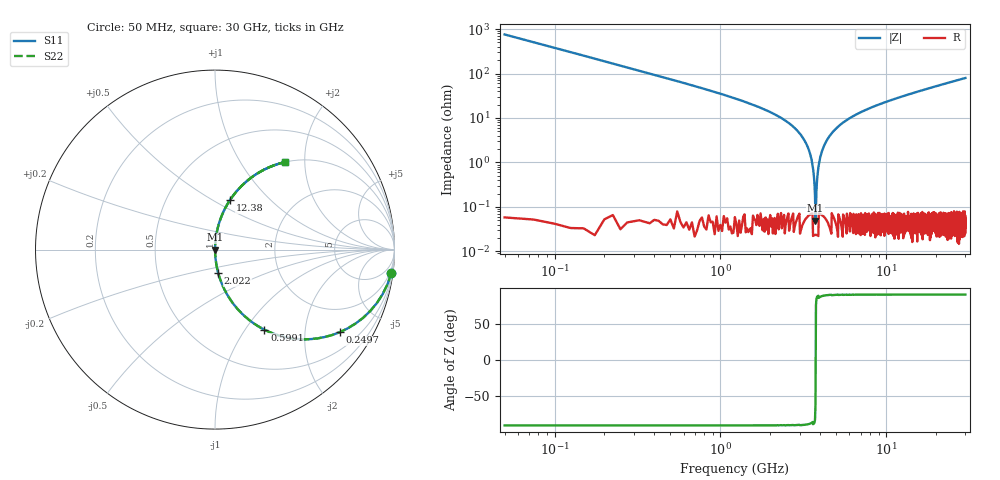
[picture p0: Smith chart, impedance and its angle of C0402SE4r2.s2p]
!	AVX Thin Film Operation 	Date: April 2014
!	Description: Accu-P® Series, Thin Film  SMD RF Capacitor
!	Part Number: 04025J4R2ABSTR
# MHZ S MA R 50
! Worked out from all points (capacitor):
!   1201 points, 50 MHz to 30 GHz, reference 50 ohm
!   read as one part in series: C = 4.2 pF near 199.8 MHz
!   lowest |Z| = 49.4 mohm at 3.744 GHz (marker M1)
!   series resonance near 3.752 GHz, so ESL is about 430 pH
!   S11 on the Smith chart (normalised r, x): 50 MHz: 1, -15; 249.7 MHz: 1.00, -3.02; 599.1 MHz: 1.00, -1.23; 2.022 GHz: 1.00, -0.27; 12.38 GHz: 1.00, +0.61; 30 GHz: 1.00, +1.59
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50  0.991 -7.5  0.131 82.5  0.131 82.5  0.991 -7.5
249.667  0.834 -33.5  0.552 56.5  0.552 56.5  0.834 -33.5
599.083  0.525 -58.3  0.851 31.6  0.851 31.6  0.525 -58.3
1098.25  0.301 -72.4  0.953 17.5  0.953 17.5  0.301 -72.4
2021.708  0.132 -82.2  0.991 7.6  0.991 7.6  0.132 -82.2
2745.5  0.064 -85.9  0.997 3.7  0.997 3.7  0.064 -85.9
3219.708  0.031 -87.4  0.999 1.8  0.999 1.8  0.031 -87.4
3469.292  0.016 -87.4  0.999 0.9  0.999 0.9  0.016 -87.4
3644  0.005909 -85.1  1 0.3  1 0.3  0.005909 -85.1
3743.833  0.0006394 -42.5  1 0.0  1 0.0  0.0006394 -42.5
3843.667  0.004905 84.2  1 -0.3  1 -0.3  0.004905 84.2
3993.417  0.013 87.1  0.999 -0.7  0.999 -0.7  0.013 87.1
4218.042  0.024 87.5  0.999 -1.4  0.999 -1.4  0.024 87.5
4567.458  0.04 87.0  0.999 -2.3  0.999 -2.3  0.04 87.0
5041.667  0.06 86.1  0.998 -3.5  0.998 -3.5  0.06 86.1
6863.625  0.128 82.4  0.991 -7.4  0.991 -7.4  0.128 82.4
10058.29  0.227 76.8  0.973 -13.1  0.973 -13.1  0.227 76.8
12379.42  0.29 73.1  0.957 -16.8  0.957 -16.8  0.29 73.1
15025  0.354 69.2  0.935 -20.8  0.935 -20.8  0.354 69.2
20016.67  0.461 62.5  0.887 -27.5  0.887 -27.5  0.461 62.5
25033.29  0.55 56.6  0.835 -33.4  0.835 -33.4  0.55 56.6
30000  0.622 51.5  0.783 -38.5  0.783 -38.5  0.622 51.5
